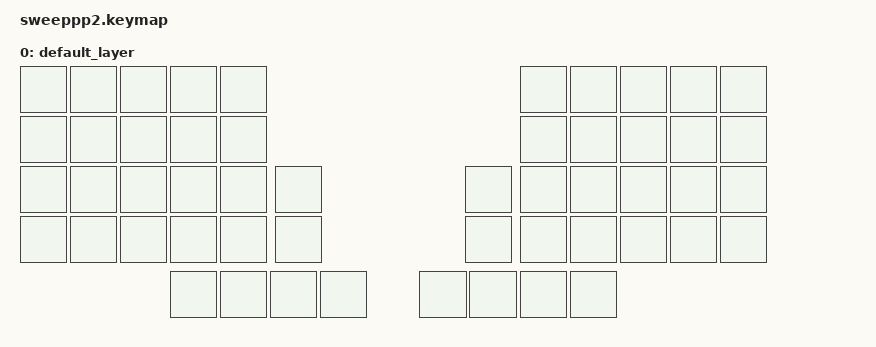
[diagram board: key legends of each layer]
#include <behaviors.dtsi>
#include <dt-bindings/zmk/keys.h>
#include <dt-bindings/zmk/bt.h>

&nice_view_spi {
    cs-gpios = <&pro_micro 2 GPIO_ACTIVE_HIGH>;
};

/ {
    combos {
        compatible = "zmk,combos";

        c1 { bindings = <&kp A>; key-positions = <0>; };
        c2 { bindings = <&kp O>; key-positions = <1>; };
        c3 { bindings = <&kp E>; key-positions = <2>; };
        c4 { bindings = <&kp U>; key-positions = <2 3>; };
        c5 { bindings = <&kp I>; key-positions = <3>; };
        c6 { bindings = <&kp D>; key-positions = <6 7>; };
        c7 { bindings = <&kp H>; key-positions = <6>; };
        c8 { bindings = <&kp T>; key-positions = <7>; };
        c9 { bindings = <&kp N>; key-positions = <8>; };
        c10 { bindings = <&kp S>; key-positions = <9>; };
        c11 { bindings = <&kp SQT>; key-positions = <0 8>; };
        c12 { bindings = <&kp COMMA>; key-positions = <0 1>; };
        c13 { bindings = <&kp DOT>; key-positions = <1 2>; };
        c14 { bindings = <&kp P>; key-positions = <0 3>; };
        c15 { bindings = <&kp Y>; key-positions = <1 3>; };
        c16 { bindings = <&kp F>; key-positions = <3 6>; };
        c17 { bindings = <&kp G>; key-positions = <6 8>; };
        c18 { bindings = <&kp C>; key-positions = <2 7>; };
        c19 { bindings = <&kp R>; key-positions = <7 8>; };
        c20 { bindings = <&kp L>; key-positions = <8 9>; };
        c21 { bindings = <&kp SEMI>; key-positions = <0 6>; };
        c22 { bindings = <&kp Q>; key-positions = <1 8>; };
        c23 { bindings = <&kp J>; key-positions = <2 6>; };
        c24 { bindings = <&kp K>; key-positions = <3 7>; };
        c25 { bindings = <&kp X>; key-positions = <3 8>; };
        c26 { bindings = <&kp B>; key-positions = <1 6>; };
        c27 { bindings = <&kp M>; key-positions = <6 9>; };
        c28 { bindings = <&kp W>; key-positions = <1 7>; };
        c29 { bindings = <&kp V>; key-positions = <2 8>; };
        c30 { bindings = <&kp Z>; key-positions = <7 9>; };
        c31 { bindings = <&kp NUBS>; key-positions = <0 9>; };
        c32 { bindings = <&kp FSLH>; key-positions = <3 9>; };
        c33 { bindings = <&kp LBKT>; key-positions = <0 7>; };
        c34 { bindings = <&kp RBKT>; key-positions = <2 9>; };
        c35 { bindings = <&kp ESC>; key-positions = <1 9>; };
        c36 { bindings = <&kp TAB>; key-positions = <0 2>; };
        c37 { bindings = <&kp GRAVE>; key-positions = <1 2 3>; };
        c38 { bindings = <&kp N1>; key-positions = <2 3 6>; };
        c39 { bindings = <&kp N2>; key-positions = <2 3 7>; };
        c40 { bindings = <&kp N3>; key-positions = <2 3 8>; };
        c41 { bindings = <&kp N4>; key-positions = <2 3 9>; };
        c42 { bindings = <&kp N5>; key-positions = <1 2 6>; };
        c43 { bindings = <&kp N6>; key-positions = <1 2 7>; };
        c44 { bindings = <&kp N7>; key-positions = <1 2 8>; };
        c45 { bindings = <&kp N8>; key-positions = <1 2 9>; };
        c46 { bindings = <&kp N9>; key-positions = <0 1 6>; };
        c47 { bindings = <&kp N0>; key-positions = <0 1 7>; };
        c48 { bindings = <&kp EQUAL>; key-positions = <0 1 8>; };
        c49 { bindings = <&kp MINUS>; key-positions = <0 1 9>; };
        c50 { bindings = <&kp F1>; key-positions = <3 6 7>; };
        c51 { bindings = <&kp F2>; key-positions = <2 6 7>; };
        c52 { bindings = <&kp F3>; key-positions = <1 6 7>; };
        c53 { bindings = <&kp F4>; key-positions = <0 6 7>; };
        c54 { bindings = <&kp F5>; key-positions = <3 7 8>; };
        c55 { bindings = <&kp F6>; key-positions = <2 7 8>; };
        c56 { bindings = <&kp F7>; key-positions = <1 7 8>; };
        c57 { bindings = <&kp F8>; key-positions = <0 7 8>; };
        c58 { bindings = <&kp F9>; key-positions = <3 8 9>; };
        c59 { bindings = <&kp F10>; key-positions = <2 8 9>; };
        c60 { bindings = <&kp F11>; key-positions = <1 8 9>; };
        c61 { bindings = <&kp F12>; key-positions = <0 8 9>; };
        c101 { bindings = <&kp DEL>; key-positions = <23>; };
        c102 { bindings = <&kp BSPC>; key-positions = <34>; };
        c103 { bindings = <&kp SPACE>; key-positions = <35>; };
        c104 { bindings = <&kp ENTER>; key-positions = <36>; };
        c105 { bindings = <&kp LCTRL>; key-positions = <28>; };
        c106 { bindings = <&kp LALT>; key-positions = <39>; };
        c107 { bindings = <&kp LSHFT>; key-positions = <40>; };
        c108 { bindings = <&kp LMETA>; key-positions = <41>; };
        c109 { bindings = <&kp UP>; key-positions = <6 7 8 23>; };
        c110 { bindings = <&kp LEFT>; key-positions = <6 7 8 34>; };
        c111 { bindings = <&kp DOWN>; key-positions = <6 7 8 35>; };
        c112 { bindings = <&kp RIGHT>; key-positions = <6 7 8 36>; };
        c113 { bindings = <&kp PG_UP>; key-positions = <0 1 2 28>; };
        c114 { bindings = <&kp HOME>; key-positions = <0 1 2 39>; };
        c115 { bindings = <&kp PG_DN>; key-positions = <0 1 2 40>; };
        c116 { bindings = <&kp END>; key-positions = <0 1 2 41>; };
        c118 { bindings = <&bt BT_SEL 0>; key-positions = <1 2 3 6>; };
        c119 { bindings = <&bt BT_SEL 1>; key-positions = <1 2 3 7>; };
        c120 { bindings = <&bt BT_SEL 2>; key-positions = <1 2 3 8>; };
        c121 { bindings = <&bt BT_SEL 3>; key-positions = <1 2 3 9>; };
        c122 { bindings = <&bt BT_SEL 4>; key-positions = <0 1 2 6>; };
        c123 { bindings = <&bt BT_CLR>; key-positions = <0 1 2 9>; };
    };

    keymap {
        compatible = "zmk,keymap";

        default_layer {
            bindings = <
        //╭───────┬───────┬───────┬───────┬───────╮                   ╭───────┬───────┬───────┬───────┬───────╮
        //│       │       │       │       │       │                   │       │       │       │       │       │
            &none   &none   &none   &none   &none                       &none   &none   &none   &none   &none  
        //├───────┼───────┼───────┼───────┼───────┤                   ├───────┼───────┼───────┼───────┼───────┤
        //│       │       │       │       │       │                   │       │       │       │       │       │
            &none   &none   &none   &none   &none                       &none   &none   &none   &none   &none  
        //├───────┼───────┼───────┼───────┼───────┼───────╮   ╭───────┼───────┼───────┼───────┼───────┼───────┤
        //│       │       │       │       │       │                   │       │       │       │       │       │
            &none   &none   &none   &none   &none   &none       &none   &none   &none    &none  &none   &none  
        //├───────┼───────┼───────┼───────┼───────┼───────┤   ├───────┼───────┼───────┼───────┼───────┼───────┤
        //│       │       │       │       │       │                   │       │       │       │       │       │
            &none   &none   &none   &none   &none   &none       &none   &none   &none   &none   &none   &none  
        //╰───────┴───────┼───────┼───────┼───────┼───────┤   ├───────┼───────┼───────┼───────┼───────┴───────╯
        //                │       │       │       │       │   │       │       │       │       │
                            &none   &none   &none   &none       &none   &none   &none   &none  
        //                ╰───────┴───────┴───────┴───────╯   ╰───────┴───────┴───────┴───────╯
            >;
        };
    };
 };
